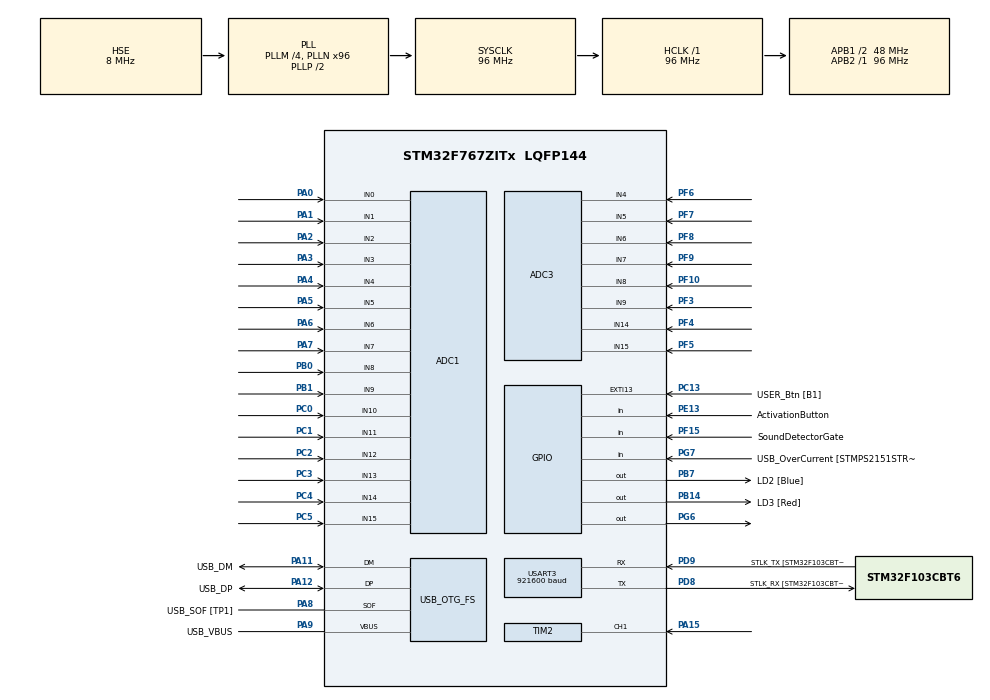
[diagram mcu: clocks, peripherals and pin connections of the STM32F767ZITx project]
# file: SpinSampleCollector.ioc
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ADC1.Channel-0\#ChannelRegularConversion=ADC_CHANNEL_0
ADC1.Channel-1\#ChannelRegularConversion=ADC_CHANNEL_1
ADC1.Channel-2\#ChannelRegularConversion=ADC_CHANNEL_2
ADC1.Channel-3\#ChannelRegularConversion=ADC_CHANNEL_3
ADC1.ContinuousConvMode=ENABLE
ADC1.DMAContinuousRequests=ENABLE
ADC1.EOCSelection=ADC_EOC_SEQ_CONV
ADC1.NbrOfConversion=4
ADC1.NbrOfConversionFlag=1
ADC1.Rank-0\#ChannelRegularConversion=1
ADC1.Rank-1\#ChannelRegularConversion=2
ADC1.Rank-2\#ChannelRegularConversion=3
ADC1.Rank-3\#ChannelRegularConversion=4
ADC1.SamplingTime-0\#ChannelRegularConversion=ADC_SAMPLETIME_15CYCLES
ADC1.SamplingTime-1\#ChannelRegularConversion=ADC_SAMPLETIME_15CYCLES
ADC1.SamplingTime-2\#ChannelRegularConversion=ADC_SAMPLETIME_15CYCLES
ADC1.SamplingTime-3\#ChannelRegularConversion=ADC_SAMPLETIME_15CYCLES
ADC1.ScanConvMode=ADC_SCAN_ENABLE
ADC1.master=1
ADC3.Channel-0\#ChannelRegularConversion=ADC_CHANNEL_4
ADC3.NbrOfConversionFlag=1
ADC3.Rank-0\#ChannelRegularConversion=1
ADC3.SamplingTime-0\#ChannelRegularConversion=ADC_SAMPLETIME_3CYCLES
Dma.ADC1.0.Direction=DMA_PERIPH_TO_MEMORY
Dma.ADC1.0.FIFOMode=DMA_FIFOMODE_DISABLE
Dma.ADC1.0.Instance=DMA2_Stream0
Dma.ADC1.0.MemDataAlignment=DMA_MDATAALIGN_HALFWORD
Dma.ADC1.0.MemInc=DMA_MINC_ENABLE
Dma.ADC1.0.Mode=DMA_CIRCULAR
Dma.ADC1.0.PeriphDataAlignment=DMA_PDATAALIGN_HALFWORD
Dma.ADC1.0.PeriphInc=DMA_PINC_DISABLE
Dma.ADC1.0.Priority=DMA_PRIORITY_LOW
Dma.Request0=ADC1
Mcu.Family=STM32F7
Mcu.Name=STM32F767ZITx
Mcu.Package=LQFP144
NVIC.DMA2_Stream0_IRQn=true\:0\:0\:false\:false\:true\:false\:true
NVIC.PriorityGroup=NVIC_PRIORITYGROUP_4
PA0/WKUP.Signal=ADCx_IN0
PA1.Signal=ADCx_IN1
PA10.GPIO_Label=USB_ID
PA10.Signal=USB_OTG_FS_ID
PA11.GPIO_Label=USB_DM
PA11.Mode=Device_Only
PA11.Signal=USB_OTG_FS_DM
PA12.GPIO_Label=USB_DP
PA12.Mode=Device_Only
PA12.Signal=USB_OTG_FS_DP
PA13.GPIO_Label=TMS
PA13.Signal=SYS_JTMS-SWDIO
PA14.GPIO_Label=TCK
PA14.Signal=SYS_JTCK-SWCLK
PA15.Signal=S_TIM2_CH1_ETR
PA2.Signal=ADCx_IN2
PA3.Signal=ADCx_IN3
PA4.Signal=ADCx_IN4
PA5.Signal=ADCx_IN5
PA6.Signal=ADCx_IN6
PA7.Signal=ADCx_IN7
PA8.GPIO_Label=USB_SOF [TP1]
PA8.Mode=Activate_SOF_FS
PA8.Signal=USB_OTG_FS_SOF
PA9.GPIO_Label=USB_VBUS
PA9.Mode=Activate_VBUS
PA9.Signal=USB_OTG_FS_VBUS
PB0.Signal=ADCx_IN8
PB1.Signal=ADCx_IN9
PB13.GPIO_Label=RMII_TXD1 [LAN8742A-CZ-TR_TXD1]
PB13.Signal=ETH_TXD1
PB14.GPIO_Label=LD3 [Red]
PB14.Signal=GPIO_Output
PB3.GPIO_Label=SWO
PB3.Signal=SYS_JTDO-SWO
PB7.GPIO_Label=LD2 [Blue]
PB7.Signal=GPIO_Output
PC0.Signal=ADCx_IN10
PC1.Signal=ADCx_IN11
PC13.GPIO_Label=USER_Btn [B1]
PC13.Signal=GPXTI13
PC14/OSC32_IN.Mode=LSE-External-Oscillator
PC14/OSC32_IN.Signal=RCC_OSC32_IN
PC15/OSC32_OUT.Mode=LSE-External-Oscillator
PC15/OSC32_OUT.Signal=RCC_OSC32_OUT
PC2.Signal=ADCx_IN12
PC3.Signal=ADCx_IN13
PC4.Signal=ADCx_IN14
PC5.Signal=ADCx_IN15
PD8.GPIO_Label=STLK_RX [STM32F103CBT6_PA3]
PD8.Mode=Asynchronous
PD8.Signal=USART3_TX
PD9.GPIO_Label=STLK_TX [STM32F103CBT6_PA2]
PD9.Mode=Asynchronous
PD9.Signal=USART3_RX
PE13.GPIO_Label=ActivationButton
PE13.Signal=GPIO_Input
PF10.Mode=IN8
PF10.Signal=ADC3_IN8
PF15.GPIO_Label=SoundDetectorGate
PF15.Signal=GPIO_Input
PF3.Mode=IN9
PF3.Signal=ADC3_IN9
PF4.Mode=IN14
PF4.Signal=ADC3_IN14
PF5.Mode=IN15
PF5.Signal=ADC3_IN15
PF6.Mode=IN4
PF6.Signal=ADC3_IN4
PF7.Mode=IN5
PF7.Signal=ADC3_IN5
PF8.Mode=IN6
PF8.Signal=ADC3_IN6
PF9.Mode=IN7
PF9.Signal=ADC3_IN7
PG11.GPIO_Label=RMII_TX_EN [LAN8742A-CZ-TR_TXEN]
PG11.Signal=ETH_TX_EN
PG13.GPIO_Label=RMII_TXD0 [LAN8742A-CZ-TR_TXD0]
PG13.Signal=ETH_TXD0
PG6.Signal=GPIO_Output
PG7.GPIO_Label=USB_OverCurrent [STMPS2151STR_FAULT]
PG7.Signal=GPIO_Input
PH0/OSC_IN.GPIO_Label=MCO [STM32F103CBT6_PA8]
PH0/OSC_IN.Mode=HSE-External-Clock-Source
PH0/OSC_IN.Signal=RCC_OSC_IN
PH1/OSC_OUT.Mode=HSE-External-Clock-Source
PH1/OSC_OUT.Signal=RCC_OSC_OUT
ProjectManager.HeapSize=0x200
ProjectManager.StackSize=0x400
ProjectManager.TargetToolchain=STM32CubeIDE
RCC.48MHZClocksFreq_Value=24000000
RCC.AHBFreq_Value=96000000
RCC.APB1CLKDivider=RCC_HCLK_DIV2
RCC.APB1Freq_Value=48000000
RCC.APB1TimFreq_Value=96000000
RCC.APB2Freq_Value=96000000
RCC.APB2TimFreq_Value=96000000
RCC.CortexFreq_Value=96000000
RCC.HCLKFreq_Value=96000000
RCC.HSE_VALUE=8000000
RCC.HSI_VALUE=16000000
RCC.PLLM=4
RCC.PLLMUL=RCC_PLL_MUL9
RCC.PLLN=96
RCC.PLLQ=4
RCC.PRESCALERUSB=RCC_USBCLKSOURCE_PLL_DIV1_5
RCC.SYSCLKFreq_VALUE=96000000
RCC.SYSCLKSource=RCC_SYSCLKSOURCE_PLLCLK
RCC.SYSCLKSourceVirtual=RCC_SYSCLKSOURCE_PLLCLK
RCC.USBFreq_Value=48000000
RCC.VCOOutputFreq_Value=192000000
SH.ADCx_IN0.0=ADC1_IN0,IN0
SH.ADCx_IN1.0=ADC1_IN1,IN1
SH.ADCx_IN10.0=ADC1_IN10,IN10
SH.ADCx_IN11.0=ADC1_IN11,IN11
SH.ADCx_IN12.0=ADC1_IN12,IN12
SH.ADCx_IN13.0=ADC1_IN13,IN13
SH.ADCx_IN14.0=ADC1_IN14,IN14
SH.ADCx_IN15.0=ADC1_IN15,IN15
SH.ADCx_IN2.0=ADC1_IN2,IN2
SH.ADCx_IN3.0=ADC1_IN3,IN3
SH.ADCx_IN4.0=ADC1_IN4,IN4
SH.ADCx_IN5.0=ADC1_IN5,IN5
SH.ADCx_IN6.0=ADC1_IN6,IN6
SH.ADCx_IN7.0=ADC1_IN7,IN7
SH.ADCx_IN8.0=ADC1_IN8,IN8
SH.ADCx_IN9.0=ADC1_IN9,IN9
SH.S_TIM2_CH1_ETR.0=TIM2_CH1,Input_Capture1_from_TI1
TIM2.Channel-Input_Capture1_from_TI1=TIM_CHANNEL_1
TIM2.Prescaler=95
USART3.BaudRate=921600
USART3.VirtualMode-Asynchronous=VM_ASYNC
USB_OTG_FS.VirtualMode=Device_Only
VP_TIM2_VS_ClockSourceINT.Mode=Internal
board=NUCLEO-F767ZI

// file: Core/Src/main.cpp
/* USER CODE BEGIN Header */
/**
  ******************************************************************************
  * @file           : main.c
  * @brief          : Main program body
  ******************************************************************************
  * @attention
  *
  * <h2><center>&copy; Copyright (c) 2020 STMicroelectronics.
  * All rights reserved.</center></h2>
  *
  * This software component is licensed by ST under BSD 3-Clause license,
  * the "License"; You may not use this file except in compliance with the
  * License. You may obtain a copy of the License at:
  *                        opensource.org/licenses/BSD-3-Clause
  *
  ******************************************************************************
  */
/* USER CODE END Header */
#include "main.h"

/* USER CODE BEGIN Includes */
#include <string.h>
#include <string>
#include <cstring>
#include <stdio.h>

#include "SamplePacket.h"
/* USER CODE END Includes */

/* USER CODE BEGIN PTD */
#define SENSOR_COUNT 4
#define ADC_BUF_LEN 4000 //TODO: This has to be less than max value of unsigned 16-bit int (65,536)
						  //or it'll never throw the interrupt.

#define CYCLE_COUNT 4

#define NANOSECOND_DIVIDER 1000000000
#define MICROSECOND_DIVIDER 1000000
#define MILLISECOND_DIVIDER 1000

/* USER CODE END PTD */

ADC_HandleTypeDef hadc1;
ADC_HandleTypeDef hadc3;
DMA_HandleTypeDef hdma_adc1;

TIM_HandleTypeDef htim2;

UART_HandleTypeDef huart3;

PCD_HandleTypeDef hpcd_USB_OTG_FS;

/* USER CODE BEGIN PV */
uint16_t adc_buf[ADC_BUF_LEN];
//uint16_t transmit_buf[ADC_BUF_LEN];
uint16_t* transmitBuffers[CYCLE_COUNT];

//Timing
uint32_t startTicks; //Deprecated
//uint32_t endTicks; //Deprecated

uint32_t cycleEndTimes[CYCLE_COUNT];
int currentCycle = 0;

int isPrimed = 0;
int isStarted = 0;
int isFinished = 0;

int disableConsoleMessages = 0;

//Timing related.
/* USER CODE END PV */

void SystemClock_Config(void);
static void MX_GPIO_Init(void);
static void MX_DMA_Init(void);
static void MX_USART3_UART_Init(void);
static void MX_USB_OTG_FS_PCD_Init(void);
static void MX_ADC1_Init(void);
static void MX_TIM2_Init(void);
static void MX_ADC3_Init(void);
/* USER CODE BEGIN PFP */

//Forward declaration.
void PrintUARTMessage(UART_HandleTypeDef *huart, const char message[]);
void PrintUARTIntValue(UART_HandleTypeDef *huart, const char label[], int value);

uint32_t TicksToNanoseconds(TIM_HandleTypeDef &htim, uint32_t ticks);

uint32_t TicksToSubSecond(TIM_HandleTypeDef &htim, uint32_t ticks, double fractionOfSecond); //fractionOfSecond, as in, 1000 for milliseconds.

uint32_t ReadCurrentTicks(TIM_HandleTypeDef &htim);

/* USER CODE END PFP */

int main(void)
{

  /* MCU Configuration--------------------------------------------------------*/

  /* Reset of all peripherals, Initializes the Flash interface and the Systick. */
  HAL_Init();

  /* Configure the system clock */
  SystemClock_Config();

  /* Initialize all configured peripherals */
  MX_GPIO_Init();
  MX_DMA_Init();
  MX_USART3_UART_Init();
  MX_USB_OTG_FS_PCD_Init();
  MX_ADC1_Init();
  MX_TIM2_Init();
  MX_ADC3_Init();
  /* USER CODE BEGIN 2 */

  //Confirm we're on.
  PrintUARTMessage(&huart3, "Initialized.");

  int hasTurnedOnGreenLED = 0;

  //Enable register 1 for the timer.
  //This would go better in that init function, but as I can't find how to enable it via the Cube GUI, I'd rather keep all my own init code in one place.
  //Useful thread about this and related topics: https://stackoverflow.com/questions/42747128/does-hal-gettick-return-ticks-or-milliseconds-and-how-to-measure-in-microsec
  TIM2->CR1 = TIM_CR1_CEN;

  /* USER CODE END 2 */

  /* Infinite loop */
  /* USER CODE BEGIN WHILE */
  while (1)
  {
	  //Use LED 1 to show that the device is on.
	  if(hasTurnedOnGreenLED == 0)
	  {
		  //HAL_GPIO_WritePin(LD1_GPIO_Port, LD1_Pin, GPIO_PIN_SET);
		  hasTurnedOnGreenLED = 1;
	  }

	  //Don't do anything until we press the trigger button. That doesn't start sampling, but allows the sound detector gate
	        //to start sampling. Also turns on a light to indicate it's primed.
	  if(isPrimed == 0)
	  {
		  if(HAL_GPIO_ReadPin(ActivationButton_GPIO_Port, ActivationButton_Pin) == GPIO_PIN_SET)
		  {
			  //Submit a message saying we're starting.
			  PrintUARTMessage(&huart3, "\r\nPriming");

			  //The click of the button can set off the gate, so wait some time before priming. Flash in the meantime.
			  for(int i = 0; i < 3; i++)
			  {
				  PrintUARTMessage(&huart3, ".");
				  HAL_GPIO_WritePin(LD2_GPIO_Port, LD2_Pin, GPIO_PIN_SET);
				  HAL_Delay(100);
				  HAL_GPIO_WritePin(LD2_GPIO_Port, LD2_Pin, GPIO_PIN_RESET);
				  HAL_Delay(100);
			  }

			  //Finish with the LED on.
			  HAL_GPIO_WritePin(LD2_GPIO_Port, LD2_Pin, GPIO_PIN_SET);
			  PrintUARTMessage(&huart3, "\r\nPrimed. Make a sound to start sampling.\r\n");

			  //Now that we've given some time to release the button, actually prime it.
			  isPrimed = 1;

		  }
	 }

	  //If primed and didn't collect samples yet, check the sound detector to see if we can start.
	  if(isPrimed == 1 && isStarted == 0)
	  {
			  GPIO_PinState state = HAL_GPIO_ReadPin(SoundDetectorGate_GPIO_Port, SoundDetectorGate_Pin);
			  HAL_GPIO_WritePin(LD3_GPIO_Port, LD3_Pin, state);

			  if(state == GPIO_PIN_SET)
			  {
				  isStarted = 1;

				  //Update time.
				  //Reset the counter just to make sure there's no overflow. (There's ways to deal with overflow but let's not for now.)
				  htim2.Instance->CNT = 0;
				  startTicks = ReadCurrentTicks(htim2);

				  //Clear transmit buffers and cycle count.
				  currentCycle = 0;

				  for(int i = 0; i < CYCLE_COUNT; i++)
				  {
					  uint16_t* newBuffer = new uint16_t[ADC_BUF_LEN];
					  transmitBuffers[i] = newBuffer;
				  }

				  HAL_ADC_Start_DMA(&hadc1, (uint32_t*)&adc_buf, ADC_BUF_LEN);
			  }

	  }

	  if (isFinished == 1)
	  {
			//Get number of samples per device, rounding down so as not to throw out-of-bounds exception.
			int samplesPerDevice = ADC_BUF_LEN / SENSOR_COUNT;
			samplesPerDevice -= ADC_BUF_LEN % SENSOR_COUNT;

			for(int cycleIndex = 0; cycleIndex < CYCLE_COUNT; cycleIndex++)
			{
				//Get the start and end times for the cycle.
				uint32_t cycleStartTimeUs = TicksToSubSecond(htim2, (cycleIndex == 0) ? startTicks : cycleEndTimes[cycleIndex - 1], (double)MICROSECOND_DIVIDER);
				uint32_t cycleEndTimeUs = TicksToSubSecond(htim2, cycleEndTimes[cycleIndex], (double)MICROSECOND_DIVIDER);

				for(int i = 0; i < SENSOR_COUNT; i++) //i is device ID, and offset with in adc_buf.' //TEMP
				{
					//Make a packet to send from this.;
					SamplePacket* packet = new SamplePacket(samplesPerDevice);
					packet->Header.AnalongInPins = SENSOR_COUNT;
					packet->Header.startTimeUs = cycleStartTimeUs; //Temp.
					packet->Header.endTimeUs = cycleEndTimeUs;
					packet->Header.DeviceID = i;
					packet->Header.SampleID = cycleIndex * SENSOR_COUNT + i; //Treating this as a cycle. TODO: Rename.

					for(int j = 0; j < samplesPerDevice; j++)
					{
						packet->Samples[j]  = transmitBuffers[cycleIndex][j * SENSOR_COUNT + i];
					}

					packet->Transmit(&huart3);
					delete packet;

				}

				delete transmitBuffers[cycleIndex];
			}

			//Clear the visual indicators of being primed and reset the flags that allow for a new sample.
			HAL_GPIO_WritePin(LD2_GPIO_Port, LD2_Pin, GPIO_PIN_RESET);
			HAL_GPIO_WritePin(LD3_GPIO_Port, LD3_Pin, GPIO_PIN_RESET);
			isPrimed = 0;
			isStarted = 0;
			isFinished = 0;
	  }

    /* USER CODE END WHILE */

  }
}

void SystemClock_Config(void)
{
  RCC_OscInitTypeDef RCC_OscInitStruct = {0};
  RCC_ClkInitTypeDef RCC_ClkInitStruct = {0};
  RCC_PeriphCLKInitTypeDef PeriphClkInitStruct = {0};

  /** Configure LSE Drive Capability
  */
  HAL_PWR_EnableBkUpAccess();
  /** Configure the main internal regulator output voltage
  */
  __HAL_RCC_PWR_CLK_ENABLE();
  __HAL_PWR_VOLTAGESCALING_CONFIG(PWR_REGULATOR_VOLTAGE_SCALE3);
  /** Initializes the RCC Oscillators according to the specified parameters
  * in the RCC_OscInitTypeDef structure.
  */
  RCC_OscInitStruct.OscillatorType = RCC_OSCILLATORTYPE_HSE;
  RCC_OscInitStruct.HSEState = RCC_HSE_BYPASS;
  RCC_OscInitStruct.PLL.PLLState = RCC_PLL_ON;
  RCC_OscInitStruct.PLL.PLLSource = RCC_PLLSOURCE_HSE;
  RCC_OscInitStruct.PLL.PLLM = 4;
  RCC_OscInitStruct.PLL.PLLN = 96;
  RCC_OscInitStruct.PLL.PLLP = RCC_PLLP_DIV2;
  RCC_OscInitStruct.PLL.PLLQ = 4;
  if (HAL_RCC_OscConfig(&RCC_OscInitStruct) != HAL_OK)
  {
    Error_Handler();
  }
  /** Activate the Over-Drive mode
  */
  if (HAL_PWREx_EnableOverDrive() != HAL_OK)
  {
    Error_Handler();
  }
  /** Initializes the CPU, AHB and APB buses clocks
  */
  RCC_ClkInitStruct.ClockType = RCC_CLOCKTYPE_HCLK|RCC_CLOCKTYPE_SYSCLK
                              |RCC_CLOCKTYPE_PCLK1|RCC_CLOCKTYPE_PCLK2;
  RCC_ClkInitStruct.SYSCLKSource = RCC_SYSCLKSOURCE_PLLCLK;
  RCC_ClkInitStruct.AHBCLKDivider = RCC_SYSCLK_DIV1;
  RCC_ClkInitStruct.APB1CLKDivider = RCC_HCLK_DIV2;
  RCC_ClkInitStruct.APB2CLKDivider = RCC_HCLK_DIV1;

  if (HAL_RCC_ClockConfig(&RCC_ClkInitStruct, FLASH_LATENCY_3) != HAL_OK)
  {
    Error_Handler();
  }
  PeriphClkInitStruct.PeriphClockSelection = RCC_PERIPHCLK_USART3|RCC_PERIPHCLK_CLK48;
  PeriphClkInitStruct.Usart3ClockSelection = RCC_USART3CLKSOURCE_PCLK1;
  PeriphClkInitStruct.Clk48ClockSelection = RCC_CLK48SOURCE_PLL;
  if (HAL_RCCEx_PeriphCLKConfig(&PeriphClkInitStruct) != HAL_OK)
  {
    Error_Handler();
  }
}

static void MX_ADC1_Init(void)
{

  ADC_ChannelConfTypeDef sConfig = {0};

  /** Configure the global features of the ADC (Clock, Resolution, Data Alignment and number of conversion)
  */
  hadc1.Instance = ADC1;
  hadc1.Init.ClockPrescaler = ADC_CLOCK_SYNC_PCLK_DIV4;
  hadc1.Init.Resolution = ADC_RESOLUTION_12B;
  hadc1.Init.ScanConvMode = ADC_SCAN_ENABLE;
  hadc1.Init.ContinuousConvMode = ENABLE;
  hadc1.Init.DiscontinuousConvMode = DISABLE;
  hadc1.Init.ExternalTrigConvEdge = ADC_EXTERNALTRIGCONVEDGE_NONE;
  hadc1.Init.ExternalTrigConv = ADC_SOFTWARE_START;
  hadc1.Init.DataAlign = ADC_DATAALIGN_RIGHT;
  hadc1.Init.NbrOfConversion = 4;
  hadc1.Init.DMAContinuousRequests = ENABLE;
  hadc1.Init.EOCSelection = ADC_EOC_SEQ_CONV;
  if (HAL_ADC_Init(&hadc1) != HAL_OK)
  {
    Error_Handler();
  }
  /** Configure for the selected ADC regular channel its corresponding rank in the sequencer and its sample time.
  */
  sConfig.Channel = ADC_CHANNEL_0;
  sConfig.Rank = ADC_REGULAR_RANK_1;
  sConfig.SamplingTime = ADC_SAMPLETIME_15CYCLES;
  if (HAL_ADC_ConfigChannel(&hadc1, &sConfig) != HAL_OK)
  {
    Error_Handler();
  }
  /** Configure for the selected ADC regular channel its corresponding rank in the sequencer and its sample time.
  */
  sConfig.Channel = ADC_CHANNEL_1;
  sConfig.Rank = ADC_REGULAR_RANK_2;
  if (HAL_ADC_ConfigChannel(&hadc1, &sConfig) != HAL_OK)
  {
    Error_Handler();
  }
  /** Configure for the selected ADC regular channel its corresponding rank in the sequencer and its sample time.
  */
  sConfig.Channel = ADC_CHANNEL_2;
  sConfig.Rank = ADC_REGULAR_RANK_3;
  if (HAL_ADC_ConfigChannel(&hadc1, &sConfig) != HAL_OK)
  {
    Error_Handler();
  }
  /** Configure for the selected ADC regular channel its corresponding rank in the sequencer and its sample time.
  */
  sConfig.Channel = ADC_CHANNEL_3;
  sConfig.Rank = ADC_REGULAR_RANK_4;
  if (HAL_ADC_ConfigChannel(&hadc1, &sConfig) != HAL_OK)
  {
    Error_Handler();
  }

}

static void MX_ADC3_Init(void)
{

  ADC_ChannelConfTypeDef sConfig = {0};

  /** Configure the global features of the ADC (Clock, Resolution, Data Alignment and number of conversion)
  */
  hadc3.Instance = ADC3;
  hadc3.Init.ClockPrescaler = ADC_CLOCK_SYNC_PCLK_DIV4;
  hadc3.Init.Resolution = ADC_RESOLUTION_12B;
  hadc3.Init.ScanConvMode = ADC_SCAN_DISABLE;
  hadc3.Init.ContinuousConvMode = DISABLE;
  hadc3.Init.DiscontinuousConvMode = DISABLE;
  hadc3.Init.ExternalTrigConvEdge = ADC_EXTERNALTRIGCONVEDGE_NONE;
  hadc3.Init.ExternalTrigConv = ADC_SOFTWARE_START;
  hadc3.Init.DataAlign = ADC_DATAALIGN_RIGHT;
  hadc3.Init.NbrOfConversion = 1;
  hadc3.Init.DMAContinuousRequests = DISABLE;
  hadc3.Init.EOCSelection = ADC_EOC_SINGLE_CONV;
  if (HAL_ADC_Init(&hadc3) != HAL_OK)
  {
    Error_Handler();
  }
  /** Configure for the selected ADC regular channel its corresponding rank in the sequencer and its sample time.
  */
  sConfig.Channel = ADC_CHANNEL_4;
  sConfig.Rank = ADC_REGULAR_RANK_1;
  sConfig.SamplingTime = ADC_SAMPLETIME_3CYCLES;
  if (HAL_ADC_ConfigChannel(&hadc3, &sConfig) != HAL_OK)
  {
    Error_Handler();
  }

}

static void MX_TIM2_Init(void)
{

  TIM_ClockConfigTypeDef sClockSourceConfig = {0};
  TIM_MasterConfigTypeDef sMasterConfig = {0};
  TIM_IC_InitTypeDef sConfigIC = {0};

  htim2.Instance = TIM2;
  htim2.Init.Prescaler = 95;
  htim2.Init.CounterMode = TIM_COUNTERMODE_UP;
  htim2.Init.Period = 4294967295;
  htim2.Init.ClockDivision = TIM_CLOCKDIVISION_DIV1;
  htim2.Init.AutoReloadPreload = TIM_AUTORELOAD_PRELOAD_DISABLE;
  if (HAL_TIM_Base_Init(&htim2) != HAL_OK)
  {
    Error_Handler();
  }
  sClockSourceConfig.ClockSource = TIM_CLOCKSOURCE_INTERNAL;
  if (HAL_TIM_ConfigClockSource(&htim2, &sClockSourceConfig) != HAL_OK)
  {
    Error_Handler();
  }
  if (HAL_TIM_IC_Init(&htim2) != HAL_OK)
  {
    Error_Handler();
  }
  sMasterConfig.MasterOutputTrigger = TIM_TRGO_RESET;
  sMasterConfig.MasterSlaveMode = TIM_MASTERSLAVEMODE_DISABLE;
  if (HAL_TIMEx_MasterConfigSynchronization(&htim2, &sMasterConfig) != HAL_OK)
  {
    Error_Handler();
  }
  sConfigIC.ICPolarity = TIM_INPUTCHANNELPOLARITY_RISING;
  sConfigIC.ICSelection = TIM_ICSELECTION_DIRECTTI;
  sConfigIC.ICPrescaler = TIM_ICPSC_DIV1;
  sConfigIC.ICFilter = 0;
  if (HAL_TIM_IC_ConfigChannel(&htim2, &sConfigIC, TIM_CHANNEL_1) != HAL_OK)
  {
    Error_Handler();
  }

}

static void MX_USART3_UART_Init(void)
{

  huart3.Instance = USART3;
  huart3.Init.BaudRate = 921600;
  huart3.Init.WordLength = UART_WORDLENGTH_8B;
  huart3.Init.StopBits = UART_STOPBITS_1;
  huart3.Init.Parity = UART_PARITY_NONE;
  huart3.Init.Mode = UART_MODE_TX_RX;
  huart3.Init.HwFlowCtl = UART_HWCONTROL_NONE;
  huart3.Init.OverSampling = UART_OVERSAMPLING_16;
  huart3.Init.OneBitSampling = UART_ONE_BIT_SAMPLE_DISABLE;
  huart3.AdvancedInit.AdvFeatureInit = UART_ADVFEATURE_NO_INIT;
  if (HAL_UART_Init(&huart3) != HAL_OK)
  {
    Error_Handler();
  }

}

static void MX_USB_OTG_FS_PCD_Init(void)
{

  hpcd_USB_OTG_FS.Instance = USB_OTG_FS;
  hpcd_USB_OTG_FS.Init.dev_endpoints = 6;
  hpcd_USB_OTG_FS.Init.speed = PCD_SPEED_FULL;
  hpcd_USB_OTG_FS.Init.dma_enable = DISABLE;
  hpcd_USB_OTG_FS.Init.phy_itface = PCD_PHY_EMBEDDED;
  hpcd_USB_OTG_FS.Init.Sof_enable = ENABLE;
  hpcd_USB_OTG_FS.Init.low_power_enable = DISABLE;
  hpcd_USB_OTG_FS.Init.lpm_enable = DISABLE;
  hpcd_USB_OTG_FS.Init.vbus_sensing_enable = ENABLE;
  hpcd_USB_OTG_FS.Init.use_dedicated_ep1 = DISABLE;
  if (HAL_PCD_Init(&hpcd_USB_OTG_FS) != HAL_OK)
  {
    Error_Handler();
  }

}

static void MX_DMA_Init(void)
{

  /* DMA controller clock enable */
  __HAL_RCC_DMA2_CLK_ENABLE();

  /* DMA interrupt init */
  /* DMA2_Stream0_IRQn interrupt configuration */
  HAL_NVIC_SetPriority(DMA2_Stream0_IRQn, 0, 0);
  HAL_NVIC_EnableIRQ(DMA2_Stream0_IRQn);

}

static void MX_GPIO_Init(void)
{
  GPIO_InitTypeDef GPIO_InitStruct = {0};

  /* GPIO Ports Clock Enable */
  __HAL_RCC_GPIOC_CLK_ENABLE();
  __HAL_RCC_GPIOF_CLK_ENABLE();
  __HAL_RCC_GPIOH_CLK_ENABLE();
  __HAL_RCC_GPIOA_CLK_ENABLE();
  __HAL_RCC_GPIOB_CLK_ENABLE();
  __HAL_RCC_GPIOE_CLK_ENABLE();
  __HAL_RCC_GPIOD_CLK_ENABLE();
  __HAL_RCC_GPIOG_CLK_ENABLE();

  /*Configure GPIO pin Output Level */
  HAL_GPIO_WritePin(GPIOB, LD3_Pin|LD2_Pin, GPIO_PIN_RESET);

  /*Configure GPIO pin Output Level */
  HAL_GPIO_WritePin(GPIOG, GPIO_PIN_6, GPIO_PIN_RESET);

  /*Configure GPIO pin : USER_Btn_Pin */
  GPIO_InitStruct.Pin = USER_Btn_Pin;
  GPIO_InitStruct.Mode = GPIO_MODE_IT_RISING;
  GPIO_InitStruct.Pull = GPIO_NOPULL;
  HAL_GPIO_Init(USER_Btn_GPIO_Port, &GPIO_InitStruct);

  /*Configure GPIO pin : SoundDetectorGate_Pin */
  GPIO_InitStruct.Pin = SoundDetectorGate_Pin;
  GPIO_InitStruct.Mode = GPIO_MODE_INPUT;
  GPIO_InitStruct.Pull = GPIO_NOPULL;
  HAL_GPIO_Init(SoundDetectorGate_GPIO_Port, &GPIO_InitStruct);

  /*Configure GPIO pin : ActivationButton_Pin */
  GPIO_InitStruct.Pin = ActivationButton_Pin;
  GPIO_InitStruct.Mode = GPIO_MODE_INPUT;
  GPIO_InitStruct.Pull = GPIO_NOPULL;
  HAL_GPIO_Init(ActivationButton_GPIO_Port, &GPIO_InitStruct);

  /*Configure GPIO pin : RMII_TXD1_Pin */
  GPIO_InitStruct.Pin = RMII_TXD1_Pin;
  GPIO_InitStruct.Mode = GPIO_MODE_AF_PP;
  GPIO_InitStruct.Pull = GPIO_NOPULL;
  GPIO_InitStruct.Speed = GPIO_SPEED_FREQ_VERY_HIGH;
  GPIO_InitStruct.Alternate = GPIO_AF11_ETH;
  HAL_GPIO_Init(RMII_TXD1_GPIO_Port, &GPIO_InitStruct);

  /*Configure GPIO pins : LD3_Pin LD2_Pin */
  GPIO_InitStruct.Pin = LD3_Pin|LD2_Pin;
  GPIO_InitStruct.Mode = GPIO_MODE_OUTPUT_PP;
  GPIO_InitStruct.Pull = GPIO_NOPULL;
  GPIO_InitStruct.Speed = GPIO_SPEED_FREQ_LOW;
  HAL_GPIO_Init(GPIOB, &GPIO_InitStruct);

  /*Configure GPIO pin : PG6 */
  GPIO_InitStruct.Pin = GPIO_PIN_6;
  GPIO_InitStruct.Mode = GPIO_MODE_OUTPUT_PP;
  GPIO_InitStruct.Pull = GPIO_NOPULL;
  GPIO_InitStruct.Speed = GPIO_SPEED_FREQ_LOW;
  HAL_GPIO_Init(GPIOG, &GPIO_InitStruct);

  /*Configure GPIO pin : USB_OverCurrent_Pin */
  GPIO_InitStruct.Pin = USB_OverCurrent_Pin;
  GPIO_InitStruct.Mode = GPIO_MODE_INPUT;
  GPIO_InitStruct.Pull = GPIO_NOPULL;
  HAL_GPIO_Init(USB_OverCurrent_GPIO_Port, &GPIO_InitStruct);

  /*Configure GPIO pins : RMII_TX_EN_Pin RMII_TXD0_Pin */
  GPIO_InitStruct.Pin = RMII_TX_EN_Pin|RMII_TXD0_Pin;
  GPIO_InitStruct.Mode = GPIO_MODE_AF_PP;
  GPIO_InitStruct.Pull = GPIO_NOPULL;
  GPIO_InitStruct.Speed = GPIO_SPEED_FREQ_VERY_HIGH;
  GPIO_InitStruct.Alternate = GPIO_AF11_ETH;
  HAL_GPIO_Init(GPIOG, &GPIO_InitStruct);

}

/* USER CODE BEGIN 4 */

//Callback for when the buffer is half filled.
void HAL_ADC_ConvHalfCpltCallback(ADC_HandleTypeDef* hadc)
{
	if(isFinished == 0)
	{
		int halfBufferLength = ADC_BUF_LEN / 2;

		for(int i = 0; i < halfBufferLength; i++)
		{
			transmitBuffers[currentCycle][i] = adc_buf[i];
		}
	}
}
//Callback for when buffer is completely filled.
void HAL_ADC_ConvCpltCallback(ADC_HandleTypeDef* hadc)
{
	//end = std::chrono::high_resolution_clock::now();

	if(isFinished == 0)
	{
		//HAL_GPIO_WritePin(LD2_GPIO_Port, LD2_Pin, GPIO_PIN_RESET);

		//Log start time in ticks.
		cycleEndTimes[currentCycle] = ReadCurrentTicks(htim2);

		int halfBufferLength = ADC_BUF_LEN / 2;

		for(int i = halfBufferLength; i < ADC_BUF_LEN; i++)
		{
			transmitBuffers[currentCycle][i] = adc_buf[i];
		}

		currentCycle++;

		if(currentCycle == CYCLE_COUNT)
		{
		  	HAL_ADC_Stop_DMA(&hadc1);
			isFinished = 1;
		}

	}
}

void PrintUARTMessage(UART_HandleTypeDef *huart, const char message[])
{
	if(disableConsoleMessages == 1)
	{
		return;
	}

	HAL_UART_Transmit(huart, (uint8_t*)message, strlen(message), 10);
	char newLine[3] = "\r\n";
	HAL_UART_Transmit(huart, (uint8_t*)newLine, 2, 10);
}

void PrintUARTIntValue(UART_HandleTypeDef *huart, const char label[], int value)
{
	if(disableConsoleMessages == 1)
	{
			return;
	}

	HAL_UART_Transmit(huart, (uint8_t*)label, strlen(label), 10);
	std::string intstr = std::to_string(value);
	char const *intchar = intstr.c_str();

	HAL_UART_Transmit(huart, (uint8_t*)intchar, strlen(intchar), 10);
	char newLine[3] = "\r\n";
	HAL_UART_Transmit(huart, (uint8_t*)newLine, 2, 10);

}

uint32_t TicksToNanoseconds(TIM_HandleTypeDef &htim, uint32_t ticks)
{
	//First get how many times per second one tick happens.
	//This could be calculated once at start, but putting it here for clarity's sake.
	uint32_t ticksPerSecond = (HAL_RCC_GetPCLK1Freq() * 2) / (htim.Instance->PSC + 1);
	double nanoSecondsPerTick = 1000000000.0 / (double)ticksPerSecond;

	return ticks * nanoSecondsPerTick;

}

uint32_t TicksToSubSecond(TIM_HandleTypeDef &htim, uint32_t ticks, double fractionOfSecond)
{
	//First get how many times per second one tick happens.
	//This could be calculated once at start, but putting it here for clarity's sake.
	uint32_t ticksPerSecond = (HAL_RCC_GetPCLK1Freq() * 2) / (htim.Instance->PSC + 1);
	double incrementsPerTick = fractionOfSecond / (double)ticksPerSecond;

	return ticks * incrementsPerTick;
}

uint32_t ReadCurrentTicks(TIM_HandleTypeDef &htim)
{
	return htim.Instance->CNT;
}

/* USER CODE END 4 */

void Error_Handler(void)
{
}

/************************ (C) COPYRIGHT STMicroelectronics *****END OF FILE****/
